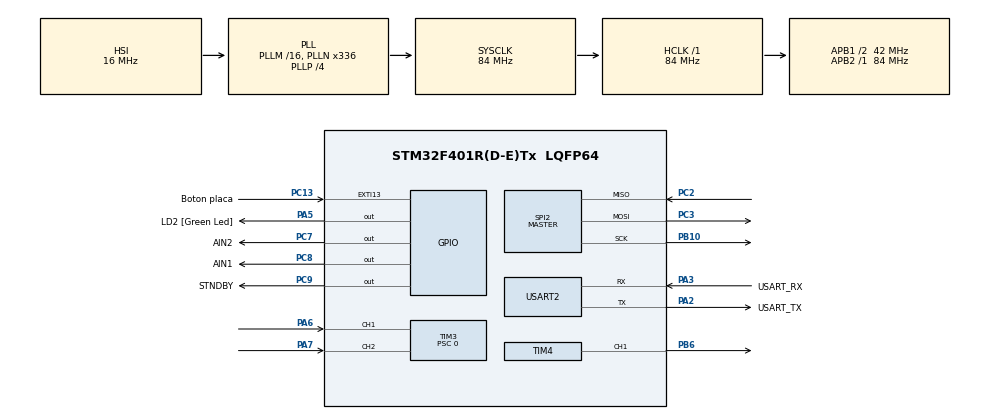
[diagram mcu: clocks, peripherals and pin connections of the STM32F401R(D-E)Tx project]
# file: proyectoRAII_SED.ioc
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Mcu.Family=STM32F4
Mcu.Name=STM32F401R(D-E)Tx
Mcu.Package=LQFP64
NVIC.EXTI15_10_IRQn=true\:0\:0\:false\:false\:true\:true\:true\:true
NVIC.PriorityGroup=NVIC_PRIORITYGROUP_4
NVIC.TIM1_UP_TIM10_IRQn=true\:0\:0\:false\:false\:true\:true\:true\:true
NVIC.TIM3_IRQn=true\:0\:0\:false\:false\:true\:true\:true\:true
NVIC.USART2_IRQn=true\:0\:0\:false\:false\:true\:true\:true\:true
PA13.GPIO_Label=TMS
PA13.Mode=Trace_Asynchronous_SW
PA13.Signal=SYS_JTMS-SWDIO
PA14.GPIO_Label=TCK
PA14.Mode=Trace_Asynchronous_SW
PA14.Signal=SYS_JTCK-SWCLK
PA2.GPIO_Label=USART_TX
PA2.GPIO_Mode=GPIO_MODE_AF_PP
PA2.GPIO_PuPd=GPIO_NOPULL
PA2.GPIO_Speed=GPIO_SPEED_FREQ_LOW
PA2.Mode=Asynchronous
PA2.Signal=USART2_TX
PA3.GPIO_Label=USART_RX
PA3.GPIO_Mode=GPIO_MODE_AF_PP
PA3.GPIO_PuPd=GPIO_NOPULL
PA3.GPIO_Speed=GPIO_SPEED_FREQ_LOW
PA3.Mode=Asynchronous
PA3.Signal=USART2_RX
PA5.GPIO_Label=LD2 [Green Led]
PA5.GPIO_Mode=GPIO_MODE_OUTPUT_PP
PA5.GPIO_PuPd=GPIO_NOPULL
PA5.GPIO_Speed=GPIO_SPEED_FREQ_LOW
PA5.Signal=GPIO_Output
PA6.Signal=S_TIM3_CH1
PA7.Signal=S_TIM3_CH2
PB10.Mode=Full_Duplex_Master
PB10.Signal=SPI2_SCK
PB3.GPIO_Label=SWO
PB3.Mode=Trace_Asynchronous_SW
PB3.Signal=SYS_JTDO-SWO
PB6.Signal=S_TIM4_CH1
PC13-ANTI_TAMP.GPIO_Label=Boton placa
PC13-ANTI_TAMP.Signal=GPXTI13
PC14-OSC32_IN.Mode=LSE-External-Oscillator
PC14-OSC32_IN.Signal=RCC_OSC32_IN
PC15-OSC32_OUT.Mode=LSE-External-Oscillator
PC15-OSC32_OUT.Signal=RCC_OSC32_OUT
PC2.Mode=Full_Duplex_Master
PC2.Signal=SPI2_MISO
PC3.Mode=Full_Duplex_Master
PC3.Signal=SPI2_MOSI
PC7.GPIO_Label=AIN2
PC7.Signal=GPIO_Output
PC8.GPIO_Label=AIN1
PC8.Signal=GPIO_Output
PC9.GPIO_Label=STNDBY
PC9.Signal=GPIO_Output
PH0\ -\ OSC_IN.Mode=HSE-External-Clock-Source
PH0\ -\ OSC_IN.Signal=RCC_OSC_IN
PH1\ -\ OSC_OUT.Mode=HSE-External-Clock-Source
PH1\ -\ OSC_OUT.Signal=RCC_OSC_OUT
ProjectManager.HeapSize=0x200
ProjectManager.StackSize=0x400
ProjectManager.TargetToolchain=STM32CubeIDE
RCC.48MHZClocksFreq_Value=48000000
RCC.AHBFreq_Value=84000000
RCC.APB1CLKDivider=RCC_HCLK_DIV2
RCC.APB1Freq_Value=42000000
RCC.APB1TimFreq_Value=84000000
RCC.APB2Freq_Value=84000000
RCC.APB2TimFreq_Value=84000000
RCC.CortexFreq_Value=84000000
RCC.HCLKFreq_Value=84000000
RCC.HSE_VALUE=8000000
RCC.HSI_VALUE=16000000
RCC.PLLN=336
RCC.PLLP=RCC_PLLP_DIV4
RCC.PLLQ=7
RCC.SYSCLKFreq_VALUE=84000000
RCC.SYSCLKSource=RCC_SYSCLKSOURCE_PLLCLK
RCC.VCOOutputFreq_Value=336000000
SH.S_TIM3_CH1.0=TIM3_CH1,Encoder_Interface
SH.S_TIM3_CH2.0=TIM3_CH2,Encoder_Interface
SH.S_TIM4_CH1.0=TIM4_CH1,PWM Generation1 CH1
SPI2.Direction=SPI_DIRECTION_2LINES
SPI2.Mode=SPI_MODE_MASTER
SPI2.VirtualType=VM_MASTER
TIM1.Period=100
TIM1.Prescaler=8400-1
TIM3.EncoderMode=TIM_ENCODERMODE_TI12
TIM3.Period=65535
TIM3.Prescaler=0
TIM4.AutoReloadPreload=TIM_AUTORELOAD_PRELOAD_DISABLE
TIM4.Channel-PWM\ Generation1\ CH1=TIM_CHANNEL_1
TIM4.Period=511
TIM4.Prescaler=163
USART2.VirtualMode=VM_ASYNC
VP_TIM1_VS_ClockSourceINT.Mode=Internal
VP_TIM4_VS_ClockSourceINT.Mode=Internal
board=NUCLEO-F401RE

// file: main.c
/* USER CODE BEGIN Header */
/**
 ******************************************************************************
 * @file           : main.c
 * @brief          : main for the control of the motor
 * @author		   : Erwan Bernard and Joaquin del Valle Zamudio
 ******************************************************************************
 * @attention
 *
 * Copyright (c) 2025 STMicroelectronics.
 * All rights reserved.
 *
 * This software is licensed under terms that can be found in the LICENSE file
 * in the root directory of this software component.
 * If no LICENSE file comes with this software, it is provided AS-IS.
 *
 ******************************************************************************
 */
/* USER CODE END Header */
#include "main.h"

/* USER CODE BEGIN Includes */
#include "RAdef.h"
#include "math.h"
/* USER CODE END Includes */

SPI_HandleTypeDef hspi2;

TIM_HandleTypeDef htim1;
TIM_HandleTypeDef htim3;
TIM_HandleTypeDef htim4;

UART_HandleTypeDef huart2;

/* USER CODE BEGIN PV */

//Motor variables:
int32_t previousCount = 0;
int32_t count = 0;
int16_t speed = 0;
int8_t stdby = 0; //Enable of the driver

//Controller's variables:
//Toggle the modes in function of the input from the UART
//For more details check RAdef's UART functions
int8_t controlMode = RA_DEFAULT;

//Speed
int16_t speedRPM = 0;

float speedStorage[3] ={0,0,0};

//Position
float pos = 0;
float posStorage[2] ={0,0};

// Reference for speed/position that the user wants the motor to acquire.
int16_t Ref = 0;

// UART:
//Buffer for the reception of the commands that comes from the UART
char uartBuffer[32]= "";
char uartByte[1] = "";

// While
int p = 0;
/* USER CODE END PV */

void SystemClock_Config(void);
static void MX_GPIO_Init(void);
static void MX_TIM1_Init(void);
static void MX_TIM3_Init(void);
static void MX_TIM4_Init(void);
static void MX_SPI2_Init(void);
static void MX_USART2_UART_Init(void);

/* USER CODE BEGIN 0 */

void HAL_TIM_PeriodElapsedCallback(TIM_HandleTypeDef *htim)
{
	if(htim->Instance == TIM1){
		static int ix = 0;
		// BT: 100 Hz
		// Acquisition of the values of the motor that the encoder gives us
		previousCount = count;
		count += (int16_t)__HAL_TIM_GET_COUNTER(&htim3);
		speed = (count-previousCount)/0.01;
		speedRPM = speed * 60/861;

		//Start of the feedback loop

		if((controlMode ==  RA_POSITION_DEG) || (controlMode == RA_POSITION_REV)){
			// Makes the regulation base on a relative position and not an absolute one
			//More details in RAdef.c in RA_inputModeControl()
			pos = ((controlMode == RA_POSITION_REV)? (float) count / 861.0f : (float) 360.0f * count / 861.0f);

			//Position
			// U1
			posStorage[RA_PREVIOUS_POS] = posStorage[RA_ACTUAL_POS];
			posStorage[RA_ACTUAL_POS] = Ref - pos; //(controlMode == RA_POSITION_REV? posREV : posDEG);
			//Y1

			//Output of the first controller
			float refVel2 = RA_PositionController(posStorage);
			//Output of the second controller
			speedStorage[RA_PREVIOUS_SPEED] = speedStorage[RA_ACTUAL_SPEED];
			speedStorage[RA_ACTUAL_SPEED] = refVel2- speedRPM;//(controlMode == RA_POSITION_REV ? speedRPM : speedDEG);

			speedStorage[2] = RA_SpeedController(speedStorage);
		}

		if(controlMode == RA_SPEED){
			//Speed
			// U2 y U1
			speedStorage[RA_PREVIOUS_SPEED] = speedStorage[RA_ACTUAL_SPEED];
			speedStorage[RA_ACTUAL_SPEED] = Ref-speedRPM;
			//Y1
			speedStorage[2] = RA_SpeedController(speedStorage);
		}

		// Setting of the new values that gave us the regulator
		if(controlMode != RA_DEFAULT){

			//Regulation modes (speed / position wise)
			if((controlMode != RA_STEP) && (controlMode != RA_STOP)){
				TIM4->CCR1 = abs(speedStorage[2]);
				ix++;
				// Print of the speed/position of the motor
				// Take in count the ripple values.
				if(ix > 200){
					p = 1;
					ix = 0;
				}
			}

			//Step mode.
			else if(controlMode == RA_STEP){
				TIM4->CCR1 = abs(Ref * RA_MAX_SPEED_CRR/204);
				if(Ref > 0)
					RA_Motor_Forward();
				else if(Ref < 0){
					RA_Motor_Reverse();
				}
				ix++;
				if(ix >200){
					p = 1;
					ix = 0;
				}
			}
		}

		//End of the feedback loop
		__HAL_TIM_SET_COUNTER(&htim3,0);
	}
}

void HAL_UART_RxCpltCallback(UART_HandleTypeDef *huart){
	if(huart->Instance == USART2){
		RA_UART();
	}
}

void HAL_GPIO_EXTI_Callback(uint16_t GPIO_Pin){
	UNUSED(GPIO_Pin);

	if(GPIO_Pin == GPIO_PIN_13){
		RA_stdbyToggle();
		stdby ^= (1<<0);
	}
}
/* USER CODE END 0 */

int main(void)
{

	/* MCU Configuration--------------------------------------------------------*/

	/* Reset of all peripherals, Initializes the Flash interface and the Systick. */
 	HAL_Init();

	/* Configure the system clock */
	SystemClock_Config();

	/* Initialize all configured peripherals */
	MX_GPIO_Init();
	MX_TIM1_Init();
	MX_TIM3_Init();
	MX_TIM4_Init();
	MX_SPI2_Init();
	MX_USART2_UART_Init();
	/* USER CODE BEGIN 2 */

	HAL_TIM_Base_Start_IT(&htim1);
	HAL_TIM_Encoder_Start_IT(&htim3,TIM_CHANNEL_ALL);
	HAL_TIM_PWM_Start(&htim4,TIM_CHANNEL_1);

	HAL_UART_Receive_IT(&huart2, (uint8_t*)uartByte, 1);
	RA_UART_Interface();

	/* USER CODE END 2 */

	/* Infinite loop */
	/* USER CODE BEGIN WHILE */
	while (1)
	{
		HAL_Delay(300);
		HAL_GPIO_TogglePin(GPIOA, GPIO_PIN_5);
		HAL_Delay(300);

		if(p){
			switch(controlMode){
			case RA_STEP:
				RA_Print_Step();
				break;
			case RA_SPEED:
				RA_Print_Speed();
				break;
			case RA_POSITION_REV:
				RA_Print_Position();
				break;
			case RA_POSITION_DEG:
				RA_Print_Position();
				break;
		}
	}

	/* USER CODE END WHILE */

}
}

void SystemClock_Config(void)
{
	RCC_OscInitTypeDef RCC_OscInitStruct = {0};
	RCC_ClkInitTypeDef RCC_ClkInitStruct = {0};

	/** Configure the main internal regulator output voltage
	 */
	__HAL_RCC_PWR_CLK_ENABLE();
	__HAL_PWR_VOLTAGESCALING_CONFIG(PWR_REGULATOR_VOLTAGE_SCALE2);

	/** Initializes the RCC Oscillators according to the specified parameters
	 * in the RCC_OscInitTypeDef structure.
	 */
	RCC_OscInitStruct.OscillatorType = RCC_OSCILLATORTYPE_HSI;
	RCC_OscInitStruct.HSIState = RCC_HSI_ON;
	RCC_OscInitStruct.HSICalibrationValue = RCC_HSICALIBRATION_DEFAULT;
	RCC_OscInitStruct.PLL.PLLState = RCC_PLL_ON;
	RCC_OscInitStruct.PLL.PLLSource = RCC_PLLSOURCE_HSI;
	RCC_OscInitStruct.PLL.PLLM = 16;
	RCC_OscInitStruct.PLL.PLLN = 336;
	RCC_OscInitStruct.PLL.PLLP = RCC_PLLP_DIV4;
	RCC_OscInitStruct.PLL.PLLQ = 7;
	if (HAL_RCC_OscConfig(&RCC_OscInitStruct) != HAL_OK)
	{
		Error_Handler();
	}

	/** Initializes the CPU, AHB and APB buses clocks
	 */
	RCC_ClkInitStruct.ClockType = RCC_CLOCKTYPE_HCLK|RCC_CLOCKTYPE_SYSCLK
			|RCC_CLOCKTYPE_PCLK1|RCC_CLOCKTYPE_PCLK2;
	RCC_ClkInitStruct.SYSCLKSource = RCC_SYSCLKSOURCE_PLLCLK;
	RCC_ClkInitStruct.AHBCLKDivider = RCC_SYSCLK_DIV1;
	RCC_ClkInitStruct.APB1CLKDivider = RCC_HCLK_DIV2;
	RCC_ClkInitStruct.APB2CLKDivider = RCC_HCLK_DIV1;

	if (HAL_RCC_ClockConfig(&RCC_ClkInitStruct, FLASH_LATENCY_2) != HAL_OK)
	{
		Error_Handler();
	}
}

static void MX_SPI2_Init(void)
{

	/* SPI2 parameter configuration*/
	hspi2.Instance = SPI2;
	hspi2.Init.Mode = SPI_MODE_MASTER;
	hspi2.Init.Direction = SPI_DIRECTION_2LINES;
	hspi2.Init.DataSize = SPI_DATASIZE_8BIT;
	hspi2.Init.CLKPolarity = SPI_POLARITY_LOW;
	hspi2.Init.CLKPhase = SPI_PHASE_1EDGE;
	hspi2.Init.NSS = SPI_NSS_SOFT;
	hspi2.Init.BaudRatePrescaler = SPI_BAUDRATEPRESCALER_2;
	hspi2.Init.FirstBit = SPI_FIRSTBIT_MSB;
	hspi2.Init.TIMode = SPI_TIMODE_DISABLE;
	hspi2.Init.CRCCalculation = SPI_CRCCALCULATION_DISABLE;
	hspi2.Init.CRCPolynomial = 10;
	if (HAL_SPI_Init(&hspi2) != HAL_OK)
	{
		Error_Handler();
	}

}

static void MX_TIM1_Init(void)
{

	TIM_ClockConfigTypeDef sClockSourceConfig = {0};
	TIM_MasterConfigTypeDef sMasterConfig = {0};

	htim1.Instance = TIM1;
	htim1.Init.Prescaler = 8400-1;
	htim1.Init.CounterMode = TIM_COUNTERMODE_UP;
	htim1.Init.Period = 100;
	htim1.Init.ClockDivision = TIM_CLOCKDIVISION_DIV1;
	htim1.Init.RepetitionCounter = 0;
	htim1.Init.AutoReloadPreload = TIM_AUTORELOAD_PRELOAD_DISABLE;
	if (HAL_TIM_Base_Init(&htim1) != HAL_OK)
	{
		Error_Handler();
	}
	sClockSourceConfig.ClockSource = TIM_CLOCKSOURCE_INTERNAL;
	if (HAL_TIM_ConfigClockSource(&htim1, &sClockSourceConfig) != HAL_OK)
	{
		Error_Handler();
	}
	sMasterConfig.MasterOutputTrigger = TIM_TRGO_RESET;
	sMasterConfig.MasterSlaveMode = TIM_MASTERSLAVEMODE_DISABLE;
	if (HAL_TIMEx_MasterConfigSynchronization(&htim1, &sMasterConfig) != HAL_OK)
	{
		Error_Handler();
	}

}

static void MX_TIM3_Init(void)
{

	TIM_Encoder_InitTypeDef sConfig = {0};
	TIM_MasterConfigTypeDef sMasterConfig = {0};

	htim3.Instance = TIM3;
	htim3.Init.Prescaler = 0;
	htim3.Init.CounterMode = TIM_COUNTERMODE_UP;
	htim3.Init.Period = 65535;
	htim3.Init.ClockDivision = TIM_CLOCKDIVISION_DIV1;
	htim3.Init.AutoReloadPreload = TIM_AUTORELOAD_PRELOAD_DISABLE;
	sConfig.EncoderMode = TIM_ENCODERMODE_TI12;
	sConfig.IC1Polarity = TIM_ICPOLARITY_RISING;
	sConfig.IC1Selection = TIM_ICSELECTION_DIRECTTI;
	sConfig.IC1Prescaler = TIM_ICPSC_DIV1;
	sConfig.IC1Filter = 0;
	sConfig.IC2Polarity = TIM_ICPOLARITY_RISING;
	sConfig.IC2Selection = TIM_ICSELECTION_DIRECTTI;
	sConfig.IC2Prescaler = TIM_ICPSC_DIV1;
	sConfig.IC2Filter = 0;
	if (HAL_TIM_Encoder_Init(&htim3, &sConfig) != HAL_OK)
	{
		Error_Handler();
	}
	sMasterConfig.MasterOutputTrigger = TIM_TRGO_RESET;
	sMasterConfig.MasterSlaveMode = TIM_MASTERSLAVEMODE_DISABLE;
	if (HAL_TIMEx_MasterConfigSynchronization(&htim3, &sMasterConfig) != HAL_OK)
	{
		Error_Handler();
	}

}

static void MX_TIM4_Init(void)
{

	TIM_ClockConfigTypeDef sClockSourceConfig = {0};
	TIM_MasterConfigTypeDef sMasterConfig = {0};
	TIM_OC_InitTypeDef sConfigOC = {0};

	htim4.Instance = TIM4;
	htim4.Init.Prescaler = 163;
	htim4.Init.CounterMode = TIM_COUNTERMODE_UP;
	htim4.Init.Period = 511;
	htim4.Init.ClockDivision = TIM_CLOCKDIVISION_DIV1;
	htim4.Init.AutoReloadPreload = TIM_AUTORELOAD_PRELOAD_DISABLE;
	if (HAL_TIM_Base_Init(&htim4) != HAL_OK)
	{
		Error_Handler();
	}
	sClockSourceConfig.ClockSource = TIM_CLOCKSOURCE_INTERNAL;
	if (HAL_TIM_ConfigClockSource(&htim4, &sClockSourceConfig) != HAL_OK)
	{
		Error_Handler();
	}
	if (HAL_TIM_PWM_Init(&htim4) != HAL_OK)
	{
		Error_Handler();
	}
	sMasterConfig.MasterOutputTrigger = TIM_TRGO_RESET;
	sMasterConfig.MasterSlaveMode = TIM_MASTERSLAVEMODE_DISABLE;
	if (HAL_TIMEx_MasterConfigSynchronization(&htim4, &sMasterConfig) != HAL_OK)
	{
		Error_Handler();
	}
	sConfigOC.OCMode = TIM_OCMODE_PWM1;
	sConfigOC.Pulse = 0;
	sConfigOC.OCPolarity = TIM_OCPOLARITY_HIGH;
	sConfigOC.OCFastMode = TIM_OCFAST_DISABLE;
	if (HAL_TIM_PWM_ConfigChannel(&htim4, &sConfigOC, TIM_CHANNEL_1) != HAL_OK)
	{
		Error_Handler();
	}
	HAL_TIM_MspPostInit(&htim4);

}

static void MX_USART2_UART_Init(void)
{

	huart2.Instance = USART2;
	huart2.Init.BaudRate = 115200;
	huart2.Init.WordLength = UART_WORDLENGTH_8B;
	huart2.Init.StopBits = UART_STOPBITS_1;
	huart2.Init.Parity = UART_PARITY_NONE;
	huart2.Init.Mode = UART_MODE_TX_RX;
	huart2.Init.HwFlowCtl = UART_HWCONTROL_NONE;
	huart2.Init.OverSampling = UART_OVERSAMPLING_16;
	if (HAL_UART_Init(&huart2) != HAL_OK)
	{
		Error_Handler();
	}

}

static void MX_GPIO_Init(void)
{
	GPIO_InitTypeDef GPIO_InitStruct = {0};

	/* GPIO Ports Clock Enable */
	__HAL_RCC_GPIOC_CLK_ENABLE();
	__HAL_RCC_GPIOH_CLK_ENABLE();
	__HAL_RCC_GPIOA_CLK_ENABLE();
	__HAL_RCC_GPIOB_CLK_ENABLE();

	/*Configure GPIO pin Output Level */
	HAL_GPIO_WritePin(LD2_GPIO_Port, LD2_Pin, GPIO_PIN_RESET);

	/*Configure GPIO pin Output Level */
	HAL_GPIO_WritePin(GPIOC, AIN2_Pin|AIN1_Pin|STNDBY_Pin, GPIO_PIN_RESET);

	/*Configure GPIO pin : Boton_placa_Pin */
	GPIO_InitStruct.Pin = Boton_placa_Pin;
	GPIO_InitStruct.Mode = GPIO_MODE_IT_RISING;
	GPIO_InitStruct.Pull = GPIO_NOPULL;
	HAL_GPIO_Init(Boton_placa_GPIO_Port, &GPIO_InitStruct);

	/*Configure GPIO pin : LD2_Pin */
	GPIO_InitStruct.Pin = LD2_Pin;
	GPIO_InitStruct.Mode = GPIO_MODE_OUTPUT_PP;
	GPIO_InitStruct.Pull = GPIO_NOPULL;
	GPIO_InitStruct.Speed = GPIO_SPEED_FREQ_LOW;
	HAL_GPIO_Init(LD2_GPIO_Port, &GPIO_InitStruct);

	/*Configure GPIO pins : AIN2_Pin AIN1_Pin STNDBY_Pin */
	GPIO_InitStruct.Pin = AIN2_Pin|AIN1_Pin|STNDBY_Pin;
	GPIO_InitStruct.Mode = GPIO_MODE_OUTPUT_PP;
	GPIO_InitStruct.Pull = GPIO_NOPULL;
	GPIO_InitStruct.Speed = GPIO_SPEED_FREQ_LOW;
	HAL_GPIO_Init(GPIOC, &GPIO_InitStruct);

	/* EXTI interrupt init*/
	HAL_NVIC_SetPriority(EXTI15_10_IRQn, 0, 0);
	HAL_NVIC_EnableIRQ(EXTI15_10_IRQn);

}

void Error_Handler(void)
{
	__disable_irq();
	while (1)
	{
	}
}
